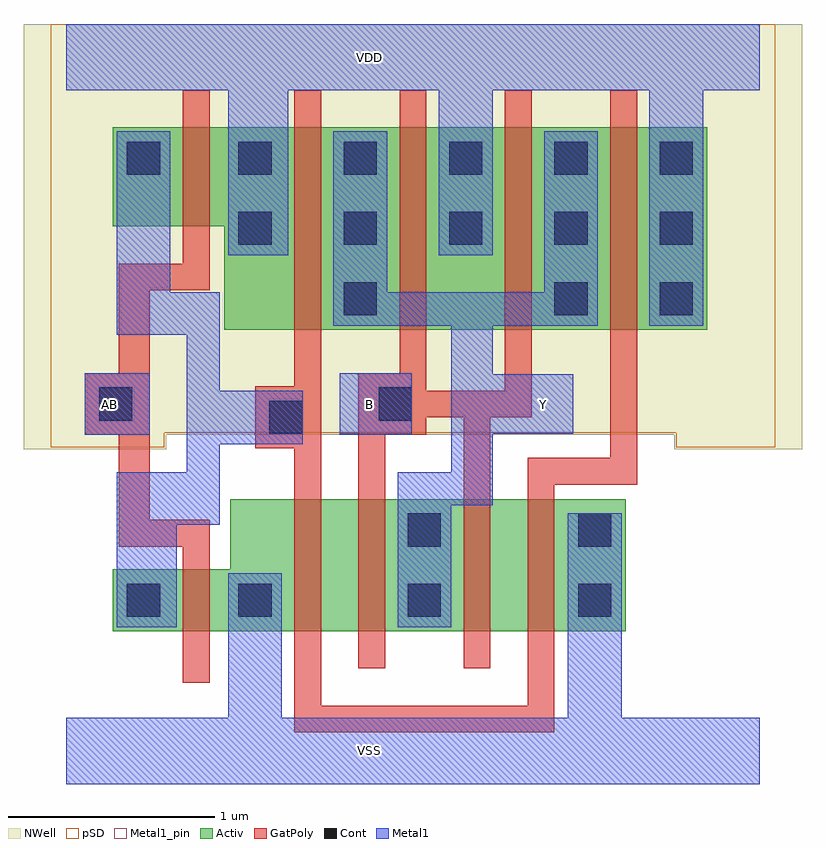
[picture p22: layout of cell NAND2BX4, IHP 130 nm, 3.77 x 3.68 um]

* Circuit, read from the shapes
.subckt NAND2BX4 AB B VDD VSS Y
XM1 VSS AB n1 VSUBS sg13_lv_nmos w=0.3u l=0.13u
XM2 n2 n1 VSS VSUBS sg13_lv_nmos w=0.64u l=0.13u
XM3 Y B n2 VSUBS sg13_lv_nmos w=0.64u l=0.13u
XM4 n3 B Y VSUBS sg13_lv_nmos w=0.64u l=0.13u
XM5 VSS n1 n3 VSUBS sg13_lv_nmos w=0.64u l=0.13u
XM6 VDD AB n1 n4 sg13_lv_pmos w=0.48u l=0.13u
XM7 Y n1 VDD n4 sg13_lv_pmos w=0.98u l=0.13u m=2
XM8 VDD B Y n4 sg13_lv_pmos w=0.98u l=0.13u m=2
.ends

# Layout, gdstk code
import gdstk
lib = gdstk.Library(unit=1e-6, precision=1e-09)
def R(c, l, rs):  # rectangles x0, y0, x1, y1
    for r in rs: c.add(gdstk.rectangle(r[:2], r[2:], *l))
def A(c, l, x, y, w, h, nx, ny, dx, dy):  # array of equal rectangles
    R(c, l, [(x+i*dx, y+j*dy, x+i*dx+w, y+j*dy+h) for i in range(nx) for j in range(ny)])
def P(c, l, *ps):  # polygons
    for p in ps: c.add(gdstk.Polygon(p, *l))
Activ = (1, 0)
GatPoly = (5, 0)
Cont = (6, 0)
Metal1 = (8, 0)
Metal1_pin = (8, 2)
pSD = (14, 0)
NWell = (31, 0)

nand2bx4 = lib.new_cell('NAND2BX4')
P(nand2bx4, Activ, [(0.765,2.04),(0.765,2.54),(0.225,2.54),(0.225,3.02),(3.105,3.02),(3.105,2.04)],
  [(0.225,0.58),(0.225,0.88),(0.795,0.88),(0.795,1.22),(2.71,1.22),(2.71,0.58)])
P(nand2bx4, GatPoly, [(1.415,0.4),(1.415,1.83),(1.615,1.83),(1.615,3.2),(1.745,3.2),(1.745,1.745),(2.125,1.745),(2.125,3.2),(2.255,3.2),(2.255,1.615),(2.055,1.615),(2.055,0.4),(1.925,0.4),(1.925,1.615),(1.745,1.615),(1.745,1.53),(1.545,1.53),(1.545,0.4)],
  [(0.565,0.33),(0.565,0.99),(0.255,0.99),(0.255,1.53),(0.09,1.53),(0.09,1.83),(0.255,1.83),(0.255,2.36),(0.565,2.36),(0.565,3.2),(0.695,3.2),(0.695,2.23),(0.405,2.23),(0.405,1.12),(0.695,1.12),(0.695,0.33)],
  [(1.105,0.09),(1.105,1.465),(0.915,1.465),(0.915,1.765),(1.105,1.765),(1.105,3.2),(1.235,3.2),(1.235,0.22),(2.235,0.22),(2.235,1.42),(2.635,1.42),(2.635,3.2),(2.765,3.2),(2.765,1.29),(2.365,1.29),(2.365,0.09)])
A(nand2bx4, Cont, 0.835, 2.45, 0.16, 0.16, 5, 2, 0.51, 0.34)
R(nand2bx4, Cont, [(0.295,0.65,0.455,0.81), (0.835,0.65,0.995,0.81), (1.655,0.65,1.815,0.81), (2.48,0.65,2.64,0.81), (1.655,0.99,1.815,1.15), (2.48,0.99,2.64,1.15), (0.985,1.535,1.145,1.695), (0.16,1.6,0.32,1.76), (1.515,1.6,1.675,1.76), (1.345,2.11,1.505,2.27), (2.365,2.11,2.525,2.27), (2.875,2.11,3.035,2.27), (0.295,2.79,0.455,2.95)])
R(nand2bx4, Metal1, [(0,-0.16,3.36,0.16), (0.09,1.53,0.405,1.83), (1.325,1.53,1.675,1.83), (0,3.2,3.36,3.52)])
P(nand2bx4, Metal1, [(2.825,2.06),(2.825,3.2),(2.065,3.2),(2.065,2.4),(1.805,2.4),(1.805,3.2),(1.075,3.2),(1.075,2.4),(0.785,2.4),(0.785,3.2),(0,3.2),(0,3.52),(3.36,3.52),(3.36,3.2),(3.085,3.2),(3.085,2.06)],
  [(0,-0.16),(0,0.16),(0.785,0.16),(0.785,0.86),(1.045,0.86),(1.045,0.16),(2.43,0.16),(2.43,1.15),(2.69,1.15),(2.69,0.16),(3.36,0.16),(3.36,-0.16)],
  [(1.605,0.6),(1.605,1.35),(1.865,1.35),(1.865,2.06),(1.295,2.06),(1.295,3),(1.555,3),(1.555,2.22),(2.315,2.22),(2.315,3),(2.575,3),(2.575,2.06),(2.065,2.06),(2.065,1.825),(2.455,1.825),(2.455,1.535),(2.065,1.535),(2.065,1.19),(1.865,1.19),(1.865,0.6)],
  [(0.245,0.6),(0.245,1.35),(0.585,1.35),(0.585,2.015),(0.245,2.015),(0.245,3),(0.505,3),(0.505,2.22),(0.745,2.22),(0.745,1.745),(1.145,1.745),(1.145,1.485),(0.745,1.485),(0.745,1.095),(0.535,1.095),(0.535,0.6)])
R(nand2bx4, Metal1_pin, [(0.09,1.53,0.405,1.83), (1.325,1.535,1.675,1.83), (1.865,1.535,2.455,1.825)])
P(nand2bx4, Metal1_pin, [(1.605,0.6),(1.605,1.35),(1.865,1.35),(1.865,2.06),(1.295,2.06),(1.295,3),(1.555,3),(1.555,2.22),(2.315,2.22),(2.315,3),(2.575,3),(2.575,2.06),(2.065,2.06),(2.065,1.825),(2.455,1.825),(2.455,1.535),(2.065,1.535),(2.065,1.19),(1.865,1.19),(1.865,0.6)],
  [(2.825,2.06),(2.825,3.2),(2.065,3.2),(2.065,2.4),(1.805,2.4),(1.805,3.2),(1.075,3.2),(1.075,2.4),(0.785,2.4),(0.785,3.2),(0,3.2),(0,3.52),(3.36,3.52),(3.36,3.2),(3.085,3.2),(3.085,2.06)],
  [(0,-0.16),(0,0.16),(0.785,0.16),(0.785,0.86),(1.045,0.86),(1.045,0.16),(2.43,0.16),(2.43,1.15),(2.69,1.15),(2.69,0.16),(3.36,0.16),(3.36,-0.16)])
P(nand2bx4, pSD, [(-0.075,1.47),(-0.075,3.52),(3.435,3.52),(3.435,1.47),(2.955,1.47),(2.955,1.54),(0.475,1.54),(0.475,1.47)])
P(nand2bx4, NWell, [(-0.205,1.46),(-0.205,3.52),(3.565,3.52),(3.565,1.46),(2.945,1.46),(2.945,1.53),(0.485,1.53),(0.485,1.46)])
nand2bx4.add(gdstk.Label('VSS', (1.47,0), layer=8, texttype=25))
nand2bx4.add(gdstk.Label('VDD', (1.47,3.36), layer=8, texttype=25))
nand2bx4.add(gdstk.Label('AB', (0.21,1.68), layer=8, texttype=25))
nand2bx4.add(gdstk.Label('Y', (2.31,1.68), layer=8, texttype=25))
nand2bx4.add(gdstk.Label('B', (1.47,1.68), layer=8, texttype=25))

lib.write_gds('NAND2BX4.gds')
